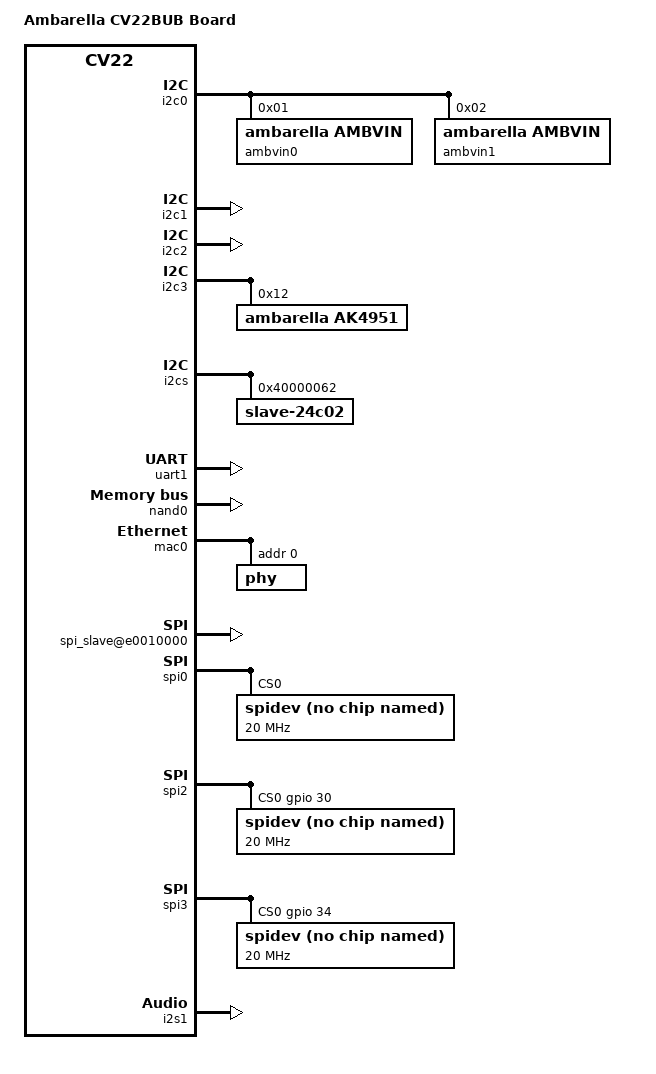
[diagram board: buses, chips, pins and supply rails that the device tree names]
/*
 * board level device tree source
 */

/dts-v1/;

/include/ "cv22.dtsi"

/ {
	model = "Ambarella CV22BUB Board";
	compatible = "ambarella,cv22bub", "ambarella,cv22";

	chosen {
		stdout-path = &uart0;
		#address-cells = <1>;
		#size-cells = <1>;
		xen,xen-bootargs = "dom0_mem=256M bootscrub=0 dom0_max_vcpus=1 dom0_vcpus_pin timer_slop=0";
		module@0 {
			 compatible = "xen,linux-zimage", "xen,multiboot-module";
			 reg = <0x0 0x0>;
			 bootargs = "root=/dev/mtdblock21 rootfstype=squashfs rdinit=/sbin/init console=hvc0 earlycon=xenboot quiet";
		};

		domu_tx {
			#address-cells = <1>;
			#size-cells = <1>;
			compatible = "xen,domain";
			memory = <0x0 0x0>;
			cpus = <1>;

			module@0 {
				compatible = "multiboot,kernel", "multiboot,module";
				reg = <0x0 0x0>;
			};
		};

	};

	n_apb@e4000000 {
		i2c0: i2c@e4008000 {
			status = "ok";

			ambvin0@01 {
				compatible = "ambarella,ambvin";
				reg = <0x01>;	/* fake address, will be overwritten in runtime */
			};

			ambvin1@02 {
				compatible = "ambarella,ambvin";
				reg = <0x02>;	/* fake address, will be overwritten in runtime */
			};
		};

		i2c1: i2c@e4009000 {
			status = "ok";
		};

		i2c2: i2c@e400a000 {
			status = "ok";
		};

		i2c3: i2c@e400b000 {
			status = "ok";
			ak4951: codec@12 {
				compatible = "ambarella,ak4951";
				#sound-dai-cells = <0>;
				reg = <0x12>;
			};
		};

		i2cs: i2cs@e4007000 {
			status = "ok";
			slave-24c02@62{
				compatible = "slave-24c02";
				reg = <0x40000062>;
			};
		};
	};

	n_ahb@e0000000 {
		uart1: uart@e0017000 {
			/delete-property/amb,txdma-used;
			/delete-property/amb,rxdma-used;
			/delete-property/dmas;
			/delete-property/dma-names;
			status = "ok";
		};

		nand0: nand@e0002000 {
			status = "ok";
		};

		sdmmc0: sdmmc0@e0004000 {
			pwr-gpios = <&gpio 109 0x1>;
			v18-gpios = <&gpio 156 0x1>;
		};

		sdmmc2: sdmmc2@e0005000 {
			pwr-gpios = <&gpio 110 0x1>;
			v18-gpios = <&gpio 157 0x1>;
		};

		mac0: ethernet@e000e000 {
			amb,tx-clk-invert;
			phy@0 {
				reg = <0>;
			};
		};

		spi_slave@e0010000 {
			status = "ok";
		};

		spi0: spi@e0011000 {
			/delete-property/pinctrl-0;
			status = "ok";
			/*cs-gpios = <&gpio 25 0>;*/

			spidev@0 {
					compatible = "ambarella,spidev";
					spi-max-frequency = <20000000>;
					reg = <0>;
					/*spi-cpha;*/
					/*spi-cpol;*/
			};
		};

		// gpio38 conflict with spi slave
		/*spi1: spi@e0012000 {
				status = "ok";
				cs-gpios = <&gpio 38 0>;

				spidev@0 {
						compatible = "ambarella,spidev";
						spi-max-frequency = <20000000>;
						reg = <0>;
						spi-cpha;
						spi-cpol;
				};
		};
		*/

		spi2: spi@e0013000 {
				status = "ok";
				cs-gpios = <&gpio 30 0>;

				spidev@0 {
						compatible = "ambarella,spidev";
						spi-max-frequency = <20000000>;
						reg = <0>;
						/*spi-cpha;*/
						/*spi-cpol;*/
				};
		};

		spi3: spi@e0014000 {
				status = "ok";
				cs-gpios = <&gpio 34 0>;

				spidev@0 {
						compatible = "ambarella,spidev";
						spi-max-frequency = <20000000>;
						reg = <0>;
						/*spi-cpha;*/
						/*spi-cpol;*/
				};
		};

		hdmi@e000b000 {
			amb,i2c-adapter = <2>;
		};

		i2s0: i2s@e000d000 {
			status = "disabled";
		};

		i2s1: i2s@e001d000 {
			status = "ok";
		};
	};

	rct@ed080000 {
		usbphy: usbphy@ed080050 {
			/* high will trigger the ocp interrupt */
			amb,ocp-polarity = <0>;
			pinctrl-names = "default";
			pinctrl-0 = <&usb_host0_pins_a>;
		};
	};

	sound {
		compatible = "ambarella,audio-board";
		simple-audio-card,name = "ak4951 @ AMBEVK";
		simple-audio-card,mclk-fs = <256>;
		simple-audio-card,widgets =
		"Speaker", "Speaker",
		"Headphone", "HP Jack",
		"Line", "Line In",
		"Line", "Line Out",
		"Microphone", "Mic Internal",
		"Microphone", "Mic External";
		simple-audio-card,routing =
		"LIN2", "Mic Bias",
		"RIN2", "Mic Bias",
		"Mic Bias", "Mic Internal",
		"LIN3", "Line In",
		"RIN3", "Line In",
		"Line Out", "SPKLO",
		"HP Jack", "HPL",
		"HP Jack", "HPR",
		"Speaker", "SPKLO";

		simple-audio-card,dai-link@0 {
			format = "i2s";

			cpu {
				sound-dai = <&i2s1>;
			};

			codec {
				sound-dai = <&ak4951>;
			};
		};
	};

	/delete-node/ iav;
	/delete-node/ bogus_bus;
};
